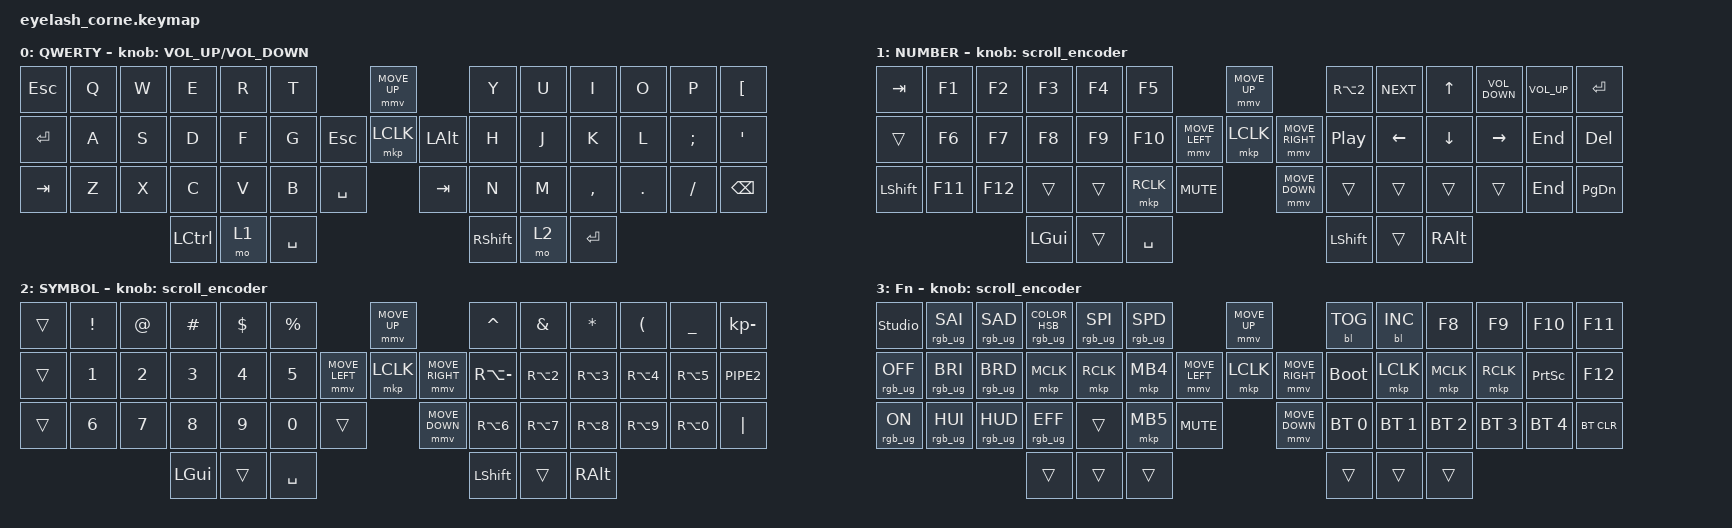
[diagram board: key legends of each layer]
#define ZMK_POINTING_DEFAULT_MOVE_VAL 1200  // 600
#define ZMK_POINTING_DEFAULT_SCRL_VAL 25   // 10

#include <input/processors.dtsi>
#include <zephyr/dt-bindings/input/input-event-codes.h>
#include <behaviors.dtsi>
#include <dt-bindings/zmk/backlight.h>
#include <dt-bindings/zmk/bt.h>
#include <dt-bindings/zmk/keys.h>
#include <dt-bindings/zmk/pointing.h>
#include <dt-bindings/zmk/rgb.h>

&mmv_input_listener { input-processors = <&zip_xy_scaler 2 1>; };

&msc_input_listener { input-processors = <&zip_scroll_scaler 2 1>; };

&msc {
    acceleration-exponent = <1>;      // 0
    time-to-max-speed-ms = <100>;       // 300
    delay-ms = <0>;                   // 0
};

&mmv {
    time-to-max-speed-ms = <500>;
    acceleration-exponent = <1>;
    trigger-period-ms = <16>;
};

/ {
    behaviors {
        td0: td0 {
            compatible = "zmk,behavior-tap-dance";
            display-name = "Shift/Caps Lock Tap Dance";
            #binding-cells = <0>;
            bindings = <&kp LEFT_SHIFT>, <&kp CAPS>;
        };
    };

    rgb_encoder: rgb_encoder {
        compatible = "zmk,behavior-sensor-rotate";
        #sensor-binding-cells = <0>;
        bindings = <&rgb_ug RGB_BRI>, <&rgb_ug RGB_BRD>;
    };

    scroll_encoder: scroll_encoder {
        compatible = "zmk,behavior-sensor-rotate";
        #sensor-binding-cells = <0>;
        bindings = <&msc SCRL_DOWN>, <&msc SCRL_UP>;

        tap-ms = <100>;
    };

    keymap {
        compatible = "zmk,keymap";

        default_layer {
            display-name = "QWERTY";
            bindings = <
&kp ESC    &kp Q  &kp W  &kp E             &kp R  &kp T                            &mmv MOVE_UP                &kp Y            &kp U  &kp I      &kp O    &kp P     &kp LEFT_BRACKET
&kp ENTER  &kp A  &kp S  &kp D             &kp F  &kp G                   &kp ESC  &mkp LCLK     &kp LEFT_ALT  &kp H            &kp J  &kp K      &kp L    &kp SEMI  &kp SQT
&kp TAB    &kp Z  &kp X  &kp C             &kp V  &kp B      &kp SPACE             &kp TAB                     &kp N            &kp M  &kp COMMA  &kp DOT  &kp FSLH  &kp BACKSPACE
                         &kp LEFT_CONTROL  &mo 1  &kp SPACE                                                    &kp RIGHT_SHIFT  &mo 2  &kp ENTER
            >;

            sensor-bindings = <&inc_dec_kp C_VOLUME_UP C_VOLUME_DOWN>;
        };

        lower_layer {
            display-name = "NUMBER";
            bindings = <
&kp TAB         &kp F1   &kp F2   &kp F3    &kp F4  &kp F5                                   &mmv MOVE_UP                     &kp RA(NUMBER_2)  &kp C_NEXT  &kp UP_ARROW  &kp C_VOLUME_DOWN  &kp C_VOLUME_UP  &kp ENTER
&trans          &kp F6   &kp F7   &kp F8    &kp F9  &kp F10                  &mmv MOVE_LEFT  &mkp LCLK       &mmv MOVE_RIGHT  &kp C_PP          &kp LEFT    &kp DOWN      &kp RIGHT          &kp END          &kp DELETE
&kp LEFT_SHIFT  &kp F11  &kp F12  &trans    &trans  &mkp RCLK  &kp C_MUTE                    &mmv MOVE_DOWN                   &trans            &trans      &trans        &trans             &kp END          &kp PG_DN
                                  &kp LGUI  &trans  &kp SPACE                                                                 &kp LEFT_SHIFT    &trans      &kp RALT
            >;

            sensor-bindings = <&scroll_encoder>;
        };

        raise_layer {
            display-name = "SYMBOL";
            bindings = <
&trans  &kp EXCL      &kp AT        &kp HASH      &kp DLLR      &kp PRCNT                            &mmv MOVE_UP                     &kp CARET         &kp AMPS          &kp ASTRK         &kp LPAR          &kp UNDER   &kp KP_MINUS
&trans  &kp NUMBER_1  &kp NUMBER_2  &kp NUMBER_3  &kp NUMBER_4  &kp N5               &mmv MOVE_LEFT  &mkp LCLK       &mmv MOVE_RIGHT  &kp RA(MINUS)     &kp RA(NUMBER_2)  &kp RA(NUMBER_3)  &kp RA(NUMBER_4)  &kp RA(N5)  &kp PIPE2
&trans  &kp NUMBER_6  &kp N7        &kp N8        &kp N9        &kp N0     &trans                    &mmv MOVE_DOWN                   &kp RA(NUMBER_6)  &kp RA(N7)        &kp RA(N8)        &kp RA(N9)        &kp RA(N0)  &kp PIPE
                                    &kp LGUI      &trans        &kp SPACE                                                             &kp LEFT_SHIFT    &trans            &kp RALT
            >;

            sensor-bindings = <&scroll_encoder>;
        };

        layer_3 {
            display-name = "Fn";
            bindings = <
&studio_unlock   &rgb_ug RGB_SAI  &rgb_ug RGB_SAD  &rgb_ug RGB_COLOR_HSB(0,0,100)  &rgb_ug RGB_SPI  &rgb_ug RGB_SPD                                &mmv MOVE_UP                     &bl BL_TOG    &bl BL_INC    &kp F8        &kp F9        &kp F10          &kp F11
&rgb_ug RGB_OFF  &rgb_ug RGB_BRI  &rgb_ug RGB_BRD  &mkp MCLK                       &mkp RCLK        &mkp MB4                       &mmv MOVE_LEFT  &mkp LCLK       &mmv MOVE_RIGHT  &bootloader   &mkp LCLK     &mkp MCLK     &mkp RCLK     &kp PRINTSCREEN  &kp F12
&rgb_ug RGB_ON   &rgb_ug RGB_HUI  &rgb_ug RGB_HUD  &rgb_ug RGB_EFF                 &trans           &mkp MB5         &kp C_MUTE                    &mmv MOVE_DOWN                   &bt BT_SEL 0  &bt BT_SEL 1  &bt BT_SEL 2  &bt BT_SEL 3  &bt BT_SEL 4     &bt BT_CLR
                                                   &trans                          &trans           &trans                                                                          &trans        &trans        &trans
            >;

            sensor-bindings = <&scroll_encoder>;
        };
    };

    conditional_layers {
        compatible = "zmk,conditional-layers";

        ACTIVATEL3 {
            if-layers = <1 2>;
            then-layer = <3>;
        };
    };
};
